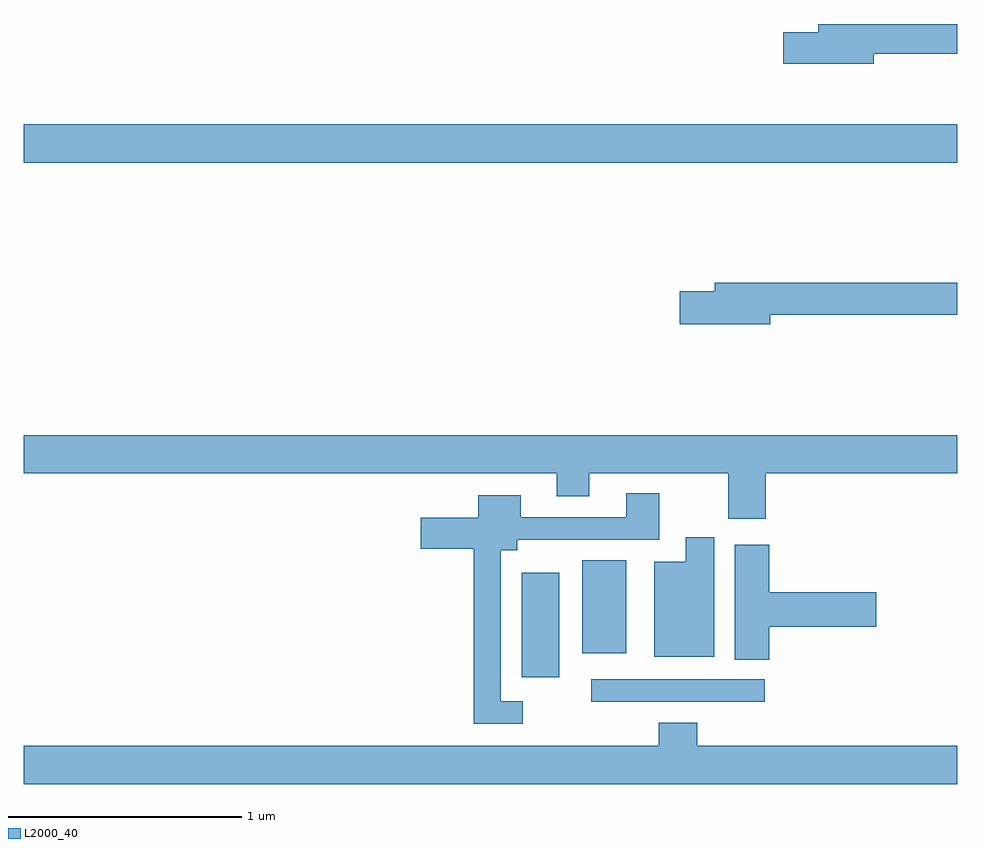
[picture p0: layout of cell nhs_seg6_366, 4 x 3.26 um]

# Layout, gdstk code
import gdstk
lib = gdstk.Library(unit=1e-6, precision=1e-09)
def R(c, l, rs):  # rectangles x0, y0, x1, y1
    for r in rs: c.add(gdstk.rectangle(r[:2], r[2:], *l))
def P(c, l, *ps):  # polygons
    for p in ps: c.add(gdstk.Polygon(p, *l))
L2000_40 = (2000, 40)

nhs_seg6_366 = lib.new_cell('nhs_seg6_366')
R(nhs_seg6_366, L2000_40, [(133.431,958.344,134.176,958.44), (133.133,958.449,133.294,958.897), (133.394,958.553,133.582,958.951), (131,960.656,135,960.82)])
P(nhs_seg6_366, L2000_40, [(134.644,961.122),(135,961.122),(135,961.25),(134.405,961.25),(134.405,961.214),(134.256,961.214),(134.256,961.079),(134.644,961.079)],
  [(134.2,960.004),(135,960.004),(135,960.14),(133.961,960.14),(133.961,960.104),(133.812,960.104),(133.812,959.962),(134.2,959.962)],
  [(134.18,959.324),(135,959.324),(135,959.488),(131,959.488),(131,959.324),(133.283,959.324),(133.283,959.225),(133.423,959.225),(133.423,959.324),(134.02,959.324),(134.02,959.13),(134.18,959.13)],
  [(133.138,958.347),(133.044,958.347),(133.044,958.994),(133.114,958.994),(133.114,959.04),(133.723,959.04),(133.723,959.239),(133.583,959.239),(133.583,959.136),(133.129,959.136),(133.129,959.23),(132.947,959.23),(132.947,959.134),(132.702,959.134),(132.702,959),(132.928,959),(132.928,958.251),(133.138,958.251)],
  [(133.96,959.05),(133.838,959.05),(133.838,958.945),(133.703,958.945),(133.703,958.538),(133.96,958.538)],
  [(134.195,958.667),(134.653,958.667),(134.653,958.814),(134.195,958.814),(134.195,959.017),(134.048,959.017),(134.048,958.525),(134.195,958.525)],
  [(135,958.156),(133.886,958.156),(133.886,958.255),(133.721,958.255),(133.721,958.156),(131,958.156),(131,957.992),(135,957.992)])

lib.write_gds('nhs_seg6_366.gds')
